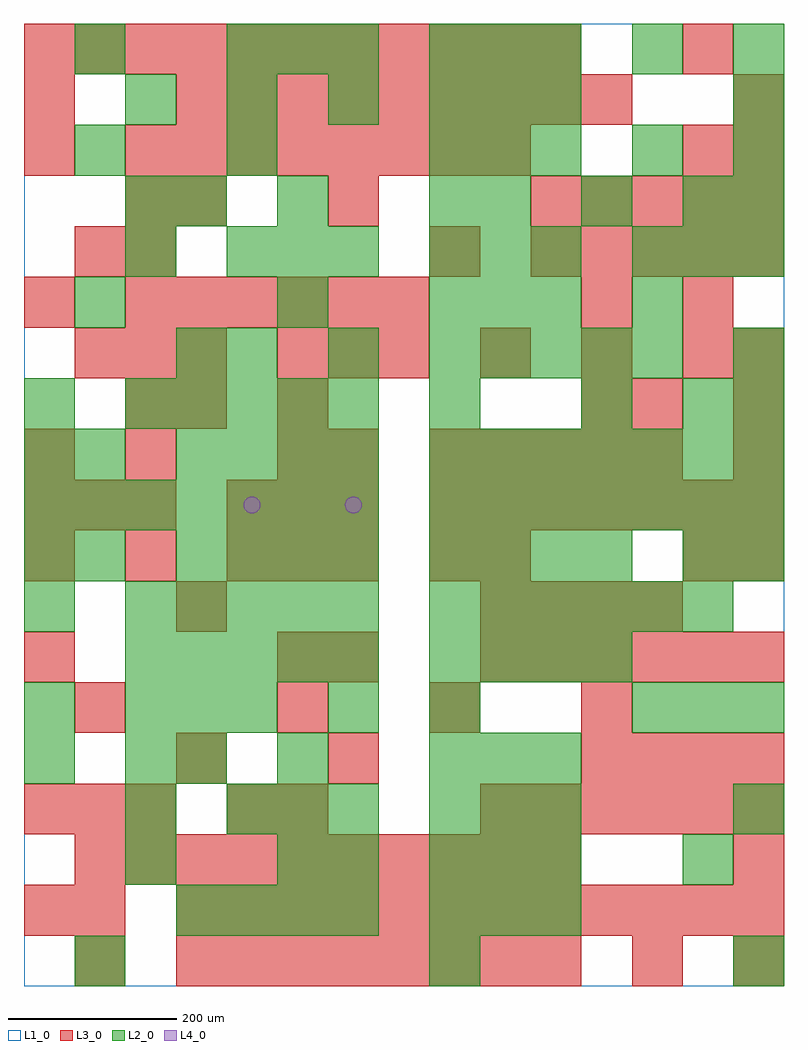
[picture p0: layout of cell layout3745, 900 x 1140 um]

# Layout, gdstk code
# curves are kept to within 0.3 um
import gdstk
lib = gdstk.Library(unit=1e-6, precision=1e-09)
def R(c, l, rs):  # rectangles x0, y0, x1, y1
    for r in rs: c.add(gdstk.rectangle(r[:2], r[2:], *l))
def A(c, l, x, y, w, h, nx, ny, dx, dy):  # array of equal rectangles
    R(c, l, [(x+i*dx, y+j*dy, x+i*dx+w, y+j*dy+h) for i in range(nx) for j in range(ny)])
def P(c, l, *ps):  # polygons
    for p in ps: c.add(gdstk.Polygon(p, *l))
L1_0 = (1, 0)
L2_0 = (2, 0)
L3_0 = (3, 0)
L4_0 = (4, 0)

layout3745 = lib.new_cell('layout3745')
R(layout3745, L1_0, [(0,0,900,1140)])
A(layout3745, L2_0, 180, 60, 60, 60, 4, 2, 60, 420)
A(layout3745, L2_0, 480, 60, 60, 60, 3, 4, 60, 60)
A(layout3745, L2_0, 120, 120, 60, 60, 1, 3, 0, 60)
A(layout3745, L2_0, 240, 180, 60, 60, 3, 2, 60, 660)
A(layout3745, L2_0, 120, 300, 60, 60, 3, 1, 60, 0)
A(layout3745, L2_0, 720, 300, 60, 60, 3, 2, 60, 540)
A(layout3745, L2_0, 120, 360, 60, 60, 5, 2, 60, 60)
A(layout3745, L2_0, 480, 360, 60, 60, 4, 2, 60, 120)
A(layout3745, L2_0, 480, 420, 60, 60, 6, 1, 60, 0)
A(layout3745, L2_0, 0, 540, 60, 60, 7, 1, 60, 0)
A(layout3745, L2_0, 480, 540, 60, 60, 7, 2, 60, 60)
A(layout3745, L2_0, 60, 600, 60, 60, 1, 3, 0, 180)
A(layout3745, L2_0, 180, 600, 60, 60, 4, 1, 60, 0)
A(layout3745, L2_0, 120, 660, 60, 60, 5, 1, 60, 0)
A(layout3745, L2_0, 240, 720, 60, 60, 3, 1, 120, 0)
A(layout3745, L2_0, 540, 720, 60, 60, 4, 1, 60, 0)
A(layout3745, L2_0, 480, 780, 60, 60, 3, 2, 60, 60)
A(layout3745, L2_0, 540, 900, 60, 60, 3, 1, 120, 0)
A(layout3745, L2_0, 840, 900, 60, 60, 1, 4, 0, 60)
A(layout3745, L2_0, 480, 960, 60, 60, 3, 2, 60, 120)
A(layout3745, L2_0, 120, 1020, 60, 60, 4, 1, 120, 0)
A(layout3745, L2_0, 240, 1080, 60, 60, 3, 1, 60, 0)
R(layout3745, L2_0, [(60,0,120,60), (480,0,540,60), (840,0,900,60), (300,120,360,180), (360,120,420,180), (780,120,840,180), (840,180,900,240), (0,240,60,300), (180,240,240,300), (300,240,360,300), (0,300,60,360), (360,300,420,360), (480,300,540,360), (0,420,60,480), (0,480,60,540), (60,480,120,540), (780,480,840,540), (840,480,900,540), (0,600,60,660), (0,660,60,720), (480,660,540,720), (660,660,720,720), (780,660,840,720), (840,660,900,720), (180,720,240,780), (840,720,900,780), (300,780,360,840), (720,780,780,840), (120,840,180,900), (120,900,180,960), (180,900,240,960), (300,900,360,960), (480,900,540,960), (240,960,300,1020), (720,960,780,1020), (540,1020,600,1080), (600,1020,660,1080), (60,1080,120,1140), (720,1080,780,1140)])
A(layout3745, L3_0, 180, 0, 60, 60, 8, 1, 60, 0)
A(layout3745, L3_0, 180, 60, 60, 60, 12, 1, 60, 0)
A(layout3745, L3_0, 60, 120, 60, 60, 10, 1, 60, 0)
A(layout3745, L3_0, 0, 180, 60, 60, 3, 2, 60, 360)
A(layout3745, L3_0, 540, 180, 60, 60, 6, 2, 60, 180)
A(layout3745, L3_0, 360, 240, 60, 60, 1, 4, 0, 120)
A(layout3745, L3_0, 660, 240, 60, 60, 4, 1, 60, 0)
A(layout3745, L3_0, 300, 300, 60, 60, 3, 1, 180, 0)
A(layout3745, L3_0, 300, 360, 60, 60, 1, 3, 0, 120)
A(layout3745, L3_0, 180, 420, 60, 60, 1, 3, 0, 240)
A(layout3745, L3_0, 540, 420, 60, 60, 4, 1, 60, 0)
A(layout3745, L3_0, 0, 480, 60, 60, 3, 1, 120, 0)
A(layout3745, L3_0, 240, 540, 60, 60, 3, 1, 60, 0)
A(layout3745, L3_0, 480, 540, 60, 60, 7, 1, 60, 0)
A(layout3745, L3_0, 0, 600, 60, 60, 1, 3, 0, 180)
A(layout3745, L3_0, 480, 600, 60, 60, 5, 1, 60, 0)
A(layout3745, L3_0, 840, 600, 60, 60, 1, 3, 0, 60)
A(layout3745, L3_0, 60, 720, 60, 60, 3, 1, 60, 0)
A(layout3745, L3_0, 300, 720, 60, 60, 3, 1, 60, 0)
A(layout3745, L3_0, 540, 720, 60, 60, 3, 1, 120, 0)
A(layout3745, L3_0, 120, 780, 60, 60, 6, 1, 60, 0)
A(layout3745, L3_0, 600, 840, 60, 60, 5, 2, 60, 60)
A(layout3745, L3_0, 120, 960, 60, 60, 8, 1, 60, 0)
A(layout3745, L3_0, 180, 1020, 60, 60, 9, 1, 60, 0)
A(layout3745, L3_0, 0, 1080, 60, 60, 11, 1, 60, 0)
R(layout3745, L3_0, [(60,0,120,60), (720,0,780,60), (840,0,900,60), (0,60,60,120), (60,60,120,120), (840,120,900,180), (240,180,300,240), (300,180,360,240), (180,240,240,300), (60,300,120,360), (0,360,60,420), (480,480,540,540), (540,480,600,540), (780,480,840,540), (840,480,900,540), (120,600,180,660), (120,660,180,720), (300,660,360,720), (660,660,720,720), (720,660,780,720), (660,780,720,840), (780,780,840,840), (60,840,120,900), (120,840,180,900), (480,840,540,900), (120,900,180,960), (360,900,420,960), (780,960,840,1020), (840,960,900,1020), (0,1020,60,1080), (840,1020,900,1080), (780,1080,840,1140)])
P(layout3745, L4_0, [(280,570),(279.239,573.827),(277.071,577.071),(273.827,579.239),(270,580),(266.173,579.239),(262.929,577.071),(260.761,573.827),(260,570),(260.761,566.173),(262.929,562.929),(266.173,560.761),(270,560),(273.827,560.761),(277.071,562.929),(279.239,566.173)],
  [(400,570),(399.239,573.827),(397.071,577.071),(393.827,579.239),(390,580),(386.173,579.239),(382.929,577.071),(380.761,573.827),(380,570),(380.761,566.173),(382.929,562.929),(386.173,560.761),(390,560),(393.827,560.761),(397.071,562.929),(399.239,566.173)])

lib.write_gds('layout3745.gds')
